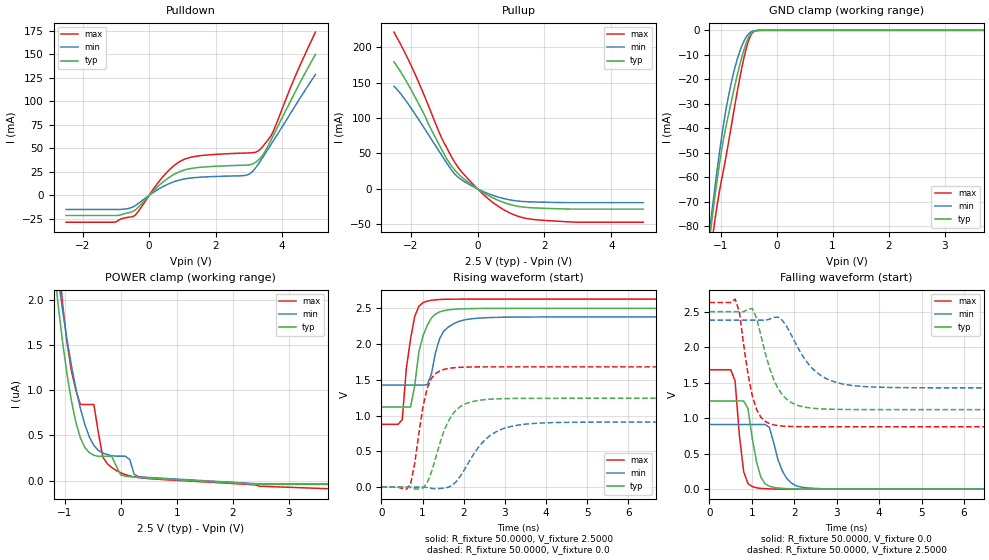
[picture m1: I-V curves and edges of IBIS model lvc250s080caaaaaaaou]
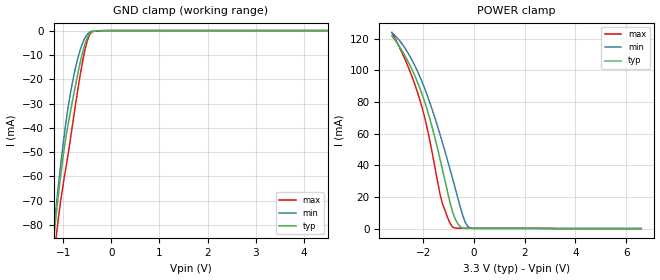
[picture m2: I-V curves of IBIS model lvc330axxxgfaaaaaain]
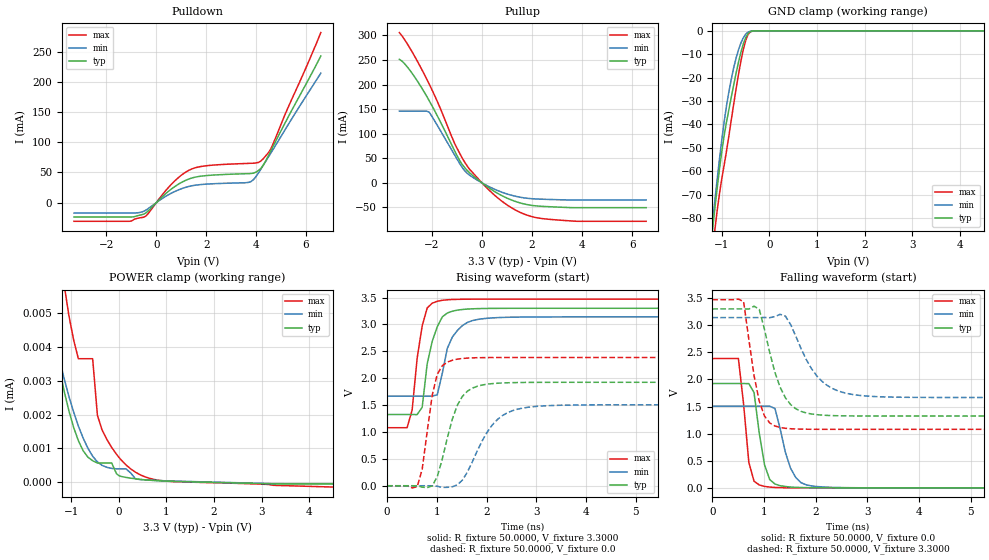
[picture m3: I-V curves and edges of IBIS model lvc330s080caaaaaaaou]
| IBIS Models Generator: Lattice Diamond (64-bit) 3.10.0.111.2
| Generate date: Sat Dec 03 21:10:33 2022
| IBIS File LibisMaker.ibs
| LibisGen v2.0.1.0, 02/25/2008, Lattice Semiconductor Corporation
| Modified by LibisMaker v2.0.1.0, 02/25/2008, Lattice Semiconductor
| North Carolina State University, ERL, 2006
[IBIS ver]   3.2
[File Name]   dianya_impl1.ibs
[File Rev]   3.4
[Date]   Wed Apr 27 17:34:17 PDT 2016
[Source]   Lattice Semiconductor cs200fl Process
   LCMXO2-4000HC   FINAL
   Lattice Semiconductor has worked hard to ensure the
   models below are accurate and complete.  However, the
   data below was generated using simulation of the
   input/output model files for the silicon.  Therefore,
   the data below is for reference and initial design
   purposes only.
   Lattice Semiconductor grants permission to use this
   data for use in printed circuit design using this
   Lattice programmable logic device.  Other use of this
   code, including the selling or duplication of any
   portion is strictly prohibited.
|   NAMING CONVENTION
   The IBIS [Model] header is limited by the specification to a
   total of characters.  With such a set of characters available
   for naming models it becomes important to attempt to
   meaningfully encode the IO standards so they fit within the
   twenty character limit.  It would seem that twenty characters
   would provide room enough for describing IO's.  However, the
   PLD IO structure continues to grow more and more complex.  The
   complexity is making the twenty characters insuffiently
   descriptive.  In order to overcome this issue the naming
   convention described below is implemented to resolve the issue.
The twenty character space is managed as follows:
   bbbvvvsdddprugtcoixx
   b = standard
   v = voltage (x.xx V)
   s = slew code
   d = drive (xx.x ma)
   p = pullup code
   r = series resistance  or bank_vccio code
   u = terminate to vcc code
   g = terminate to gnd code
   t = terminate to vtt code
   c = common mode termination mode
   o = diff resistor code
   i = diff resistor current code
   x = reserved
   standard
   lvcmos   lvc
   lvcmosd   lvd
   lvcmosr   lvr
   lvds25e   lve
   lvttl   lvt
   lvttld   ltd
   pci   pci
   sstl_I   ss1
   sstl_II   ss2
   sstld_I   s1d
   sstld_II   s2d
   hstl_i   hs1
   hstl_ii   hs2
   hstld_i   h1d
   hstld_ii   h2d
   lvds25   lvs
   blvds25   blv
   blvds25e   blv
   mlvds25   mlv
   mlvds25e   mlv
   lvpecl33   lvp
   lvpecl33e   lvp
   rsds25   rsd
   rsds25e   rse
   mipi   mip
   mipi_lp   mip
   vref1   vr1
   vref2   vr2
   ref_res   rer
   slew
   na   a
   fast   f
   slow   s
   pullmode
   off   a
   pullup   b
   pulldown   c
   bushold   d
   clamp   e
   up_clamp   f
   down_clamp   g
   keeper_clamp   h
   impedance or Bank_vccio
   off   a
   25   b
   33   c
   50   d
   100   e
   3.3   f
   2.5   g
   1.8   h
   1.5   i
   1.2   j
   termVCC
   off   a
   50   b
   100   c
   120   d
   termGND
   off   a
   50   b
   100   c
   120   d
   termVTT
   off   a
   60   b
   75   c
   120   d
   150   e
   210   f
   VCMT
   off   a
   VCMT   b
   VTT   c
   DDR-2   d
   differential resistor
   off   a
   100   b
   diff drive
   NA   a
   2.0   b
   3.5   c
   1.25   f
   2.5   g
   Reserved   IO type
   in   input only
   ou   output
   io   I/O
   od   Open drain
   on   Inverting differential I/O
   (signal name only)
   op   Non-Inverting differential I/O
   (signal name only)
   Lattice Semiconductor Corporation
   5555 NE Moore Court
   Hillsboro, OR 97214
   U.S.A
   TEL: 1-800-Lattice (USA and Canada)
   408-826-6000 (other locations)
   web: http://www.latticesemi.com/
   email: techsupport@latticesemi.com
[Disclaimer] This IBIS source code is intended as a design reference
   which illustrates how the Lattice Semiconductor device operates.
   It is the user's responsibility to verify their design for
   consistency and functionality through the use of formal
   verification methods.  Lattice Semiconductor provides no warranty
   regarding the use or functionality of this data.
[Copyright]   Copyright 2007 by Lattice Semiconductor Corporation
|   Component XO2
[Component]   XO2
[Manufacturer]   Lattice Semiconductor Corp.
[Package]
|CSBGA132
| variable   typ   min   max
R_pkg   285.450m   263.9m   295.0m
L_pkg   4.40nH   3.519nH   5.411nH
C_pkg   0.306pF   0.277pF   0.335pF
[Pin] signal_name   model_name   R_pin   L_pin   C_pin
J13   BL_LCD   lvc330s080caaaaaaaou
K13   CLK_LCD   lvc330s080caaaaaaaou
K14   DA_LCD   lvc330s080caaaaaaaou
J14   DC_LCD   lvc330s080caaaaaaaou
K12   RST_LCD   lvc330s080caaaaaaaou
N13   adcdisplay[0]   lvc330s080caaaaaaaou
M12   adcdisplay[1]   lvc330s080caaaaaaaou
P12   adcdisplay[2]   lvc330s080caaaaaaaou
M11   adcdisplay[3]   lvc330s080caaaaaaaou
P11   adcdisplay[4]   lvc330s080caaaaaaaou
N10   adcdisplay[5]   lvc330s080caaaaaaaou
N9   adcdisplay[6]   lvc330s080caaaaaaaou
P9   adcdisplay[7]   lvc330s080caaaaaaaou
C1   clk_in   lvc330axxxgfaaaaaain
G3   din   lvc250s080caaaaaaaou
N14   mode_btn_in   lvc330axxxgfaaaaaain
H3   rck   lvc250s080caaaaaaaou
L14   rst_n_in   lvc330axxxgfaaaaaain
J2   sck   lvc250s080caaaaaaaou
C8   scl_out   lvc330s080caaaaaaaou
| Models and submodels in the file (3): lvc250s080caaaaaaaou (Output), lvc330axxxgfaaaaaain (Input), lvc330s080caaaaaaaou (Output)
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[Model]   lvc250s080caaaaaaaou
Model_type   Output
Polarity   Non-Inverting
Enable   Active-Low
Vmeas =   1.2500V
Cref =   0.0F
Rref =   1.0000M
Vref =   0.0V
C_comp   4.2000pF   3.8000pF   7.5000pF
[Temperature Range]   25.0000   0.1050k   -40.0000
[Voltage Range]   2.5000V   2.3800V   2.6300V
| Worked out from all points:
|   slope of the pulldown table from 0 to 0.375 V, typ, clamps not added: 28.8 ohm
|   slope of the pullup table from 0 to 0.375 V, typ, clamps not added: 35 ohm
|   GND clamp passes 1 mA (typ) near -0.44 V on its own axis
|   rising waveform, R_fixture 50.0000, V_fixture 2.5000: 20-80 % time 286ps typ, 305ps min, 229ps max; typ from 1.12 V to 2.5 V
|   rising waveform, R_fixture 50.0000, V_fixture 0.0: 20-80 % time 465ps typ, 709ps min, 287ps max; typ from 0 V to 1.24 V
|   falling waveform, R_fixture 50.0000, V_fixture 0.0: 20-80 % time 232ps typ, 311ps min, 161ps max; typ from 1.24 V to 0 V
|   falling waveform, R_fixture 50.0000, V_fixture 2.5000: 20-80 % time 453ps typ, 672ps min, 302ps max; typ from 2.5 V to 1.12 V
[Pulldown]
|Voltage   I(typ)   I(min)   I(max)
-2.5V     -21.43mA   -15mA      -28.53mA
-1.06V    -21.43mA   -15mA      -28.53mA
-500mV    -17.29mA   -12.49mA   -22.68mA
-340mV    -13.01mA   -8.939mA   -17.7mA
460mV     15.44mA    10.15mA    21.72mA
1.1V      27.41mA    17.71mA    38.96mA
2.94V     32.22mA    21.64mA    45.09mA
3.26V     36.81mA    32.22mA    46.78mA
3.42V     43.03mA    40.73mA    52.13mA
3.74V     64.12mA    58.39mA    68.73mA
4.38V     109.2mA    94.54mA    125.7mA
5V        149.9mA    128.6mA    173.7mA
[Pullup]
|Voltage   I(typ)   I(min)   I(max)
-2.5V     179.5mA    144.9mA    221.4mA
-1.96V    137.7mA    112.2mA    171.5mA
-1.64V    109.2mA    89.19mA    137.2mA
-1.08V    56.2mA     47.99mA    72.47mA
-760mV    31.15mA    25.49mA    43.78mA
-440mV    15.37mA    11.59mA    22.04mA
40mV      -1.275mA   -931.8uA   -1.898mA
440mV     -12.3mA    -8.882mA   -18.58mA
1V        -22.45mA   -15.89mA   -34.81mA
1.56V     -26.61mA   -18.37mA   -42.65mA
2.92V     -28.69mA   -19.55mA   -47.08mA
4.96V     -28.69mA   -19.55mA   -47.14mA
[GND_clamp]
|Voltage   I(typ)   I(min)   I(max)
-2.5V     -564.7mA   -543.1mA   -585.2mA
-1.18V    -82.35mA   -79.03mA   -91.15mA
-1.14V    -74.88mA   -71.38mA   -83.96mA
-1.1V     -67.69mA   -63.94mA   -77.25mA
-980mV    -48.66mA   -43.36mA   -60.79mA
-820mV    -30.34mA   -22.65mA   -40.66mA
-700mV    -18.09mA   -11.63mA   -24.79mA
-620mV    -10.87mA   -6.335mA   -15.23mA
-540mV    -5.061mA   -2.654mA   -7.227mA
-460mV    -1.446mA   -714.8uA   -1.98mA
-300mV    -18.71uA   -15.93uA   -16.53uA
5V        0A         0A         0A
[POWER_clamp]
|Voltage   I(typ)   I(min)   I(max)
-2.48V    16.67uA    13.45uA    27.27uA
-1.2V     2.433uA    2.65uA     3.19uA
-1.12V    1.958uA    2.252uA    2.52uA
-1.04V    1.539uA    1.89uA     1.965uA
-880mV    879.3nA    1.27uA     1.211uA
-720mV    470.9nA    797.2nA    841.4nA
-480mV    279.3nA    388.4nA    841.4nA
-320mV    268.6nA    305nA      260.6nA
-160mV    268.6nA    275.3nA    144nA
0V        63.22nA    269.5nA    86.34nA
400mV     31.61nA    39.07nA    27.38nA
5V        -44.09nA   -38.33nA   -118.7nA
[Ramp]
| variable   typ   min   max
dV/dt_r  0.7610/0.4599n   0.5462/0.7020n   1.0094/0.2844n
dV/dt_f  0.8277/0.4481n   0.5716/0.6654n   1.0508/0.2990n
R_load = 50.0000
[Rising Waveform]
R_fixture=   50.0000
V_fixture=   2.5000
V_fixture_min=   2.3800
V_fixture_max=   2.6300
|time   V(typ)   V(min)   V(max)
0s        1.121V     1.427V     878.6mV
505.1ps   1.121V     1.427V     943.1mV
606.1ps   1.121V     1.427V     1.667V
707.1ps   1.119V     1.427V     2.071V
808.1ps   1.418V     1.427V     2.386V
909.1ps   1.892V     1.428V     2.53V
1.111ns   2.259V     1.432V     2.601V
1.515ns   2.468V     2.181V     2.626V
2.02ns    2.495V     2.339V     2.63V
10ns      2.5V       2.38V      2.63V
[Rising Waveform]
R_fixture=   50.0000
V_fixture=   0.0
V_fixture_min=   0.0
V_fixture_max=   0.0
|time   V(typ)   V(min)   V(max)
0s        666.9nV    899.8nV    549.6nV
707.1ps   -4.283mV   7.467uV    38.42mV
1.01ns    -9.285mV   -453.2uV   1.131V
1.111ns   62.83mV    -4.528mV   1.383V
1.515ns   778.6mV    -12.88mV   1.646V
1.717ns   1.012V     24.61mV    1.667V
2.02ns    1.16V      249.2mV    1.678V
2.525ns   1.224V     666.6mV    1.682V
3.232ns   1.24V      859.1mV    1.682V
10ns      1.243V     910.3mV    1.682V
[Falling Waveform]
R_fixture=   50.0000
V_fixture=   0.0
V_fixture_min=   0.0
V_fixture_max=   0.0
|time   V(typ)   V(min)   V(max)
0s        1.243V     910.3mV    1.682V
505.1ps   1.243V     910.3mV    1.682V
606.1ps   1.243V     910.3mV    1.524V
808.1ps   1.243V     910.4mV    247.8mV
909.1ps   1.137V     910.3mV    78.69mV
1.01ns    717.9mV    910.3mV    36.15mV
1.313ns   75.67mV    910.8mV    6.34mV
1.818ns   7.627mV    156mV      434.4uV
2.222ns   1.73mV     23.34mV    116uV
10ns      5.917uV    -6.372uV   -20.54uV
[Falling Waveform]
R_fixture=   50.0000
V_fixture=   2.5000
V_fixture_min=   2.3800
V_fixture_max=   2.6300
|time   V(typ)   V(min)   V(max)
0s        2.5V       2.38V      2.63V
606.1ps   2.5V       2.38V      2.678V
707.1ps   2.501V     2.38V      2.497V
1.01ns    2.546V     2.38V      1.319V
1.212ns   2.172V     2.381V     1.015V
1.515ns   1.545V     2.42V      905.6mV
2.02ns    1.194V     2.067V     881.4mV
2.525ns   1.135V     1.646V     879mV
3.131ns   1.123V     1.483V     878.7mV
10ns      1.121V     1.427V     878.6mV
[Model]   lvc330axxxgfaaaaaain
Model_type   Input
Polarity   Non-Inverting
Enable   Active-Low
Vinl =   0.8000V
Vinh =   2.0000V
C_comp   4.2000pF   3.8000pF   7.5000pF
[Temperature Range]   25.0000   0.1050k   -40.0000
[Voltage Range]   3.3000V   3.1400V   3.4700V
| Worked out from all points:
|   GND clamp passes 1 mA (typ) near -0.43 V on its own axis
|   POWER clamp passes 1 mA (typ) near -0.53 V on its own axis
[GND_clamp]
|Voltage   I(typ)   I(min)   I(max)
-3.3V     -955.3mA   -930.3mA   -978mA
-1.2V     -86.21mA   -82.95mA   -94.94mA
-1.15V    -76.76mA   -73.31mA   -85.77mA
-1.1V     -67.73mA   -63.97mA   -77.32mA
-1V       -51.54mA   -46.59mA   -63.26mA
-900mV    -38.9mA    -31.9mA    -51.31mA
-800mV    -28.29mA   -20.61mA   -38.02mA
-700mV    -18.14mA   -11.66mA   -24.86mA
-600mV    -9.315mA   -5.302mA   -13.12mA
-450mV    -1.255mA   -637uA     -1.701mA
0V        0A         0A         0A
6.6V      0A         0A         0A
[POWER_clamp]
|Voltage   I(typ)   I(min)   I(max)
-3.25V    121.9mA    123.9mA    124.1mA
-2.65V    106.9mA    112.1mA    104.1mA
-2.35V    96.95mA    103.3mA    91.59mA
-2.05V    84.73mA    92.58mA    76.25mA
-1.65V    63.65mA    75mA       47.49mA
-1.35V    44.31mA    59.69mA    21.99mA
-1.25V    37.38mA    54.28mA    15.6mA
-850mV    10.32mA    31.58mA    939uA
-650mV    3.193mA    19.74mA    210uA
-350mV    132.1uA    3.862mA    199.7uA
-150mV    104.6uA    375.8uA    197.7uA
6.6V      -56.35nA   -1.463uA   -71.55uA
[Model]   lvc330s080caaaaaaaou
Model_type   Output
Polarity   Non-Inverting
Enable   Active-Low
Vmeas =   1.500000V
Cref =   0.0F
Rref =   1.0000M
Vref =   0.0V
C_comp   4.2000pF   3.8000pF   7.5000pF
[Temperature Range]   25.0000   0.1050k   -40.0000
[Voltage Range]   3.3000V   3.1400V   3.4700V
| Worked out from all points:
|   slope of the pulldown table from 0 to 0.495 V, typ, clamps not added: 26 ohm
|   slope of the pullup table from 0 to 0.495 V, typ, clamps not added: 28.5 ohm
|   GND clamp passes 1 mA (typ) near -0.44 V on its own axis
|   rising waveform, R_fixture 50.0000, V_fixture 3.3000: 20-80 % time 251ps typ, 301ps min, 192ps max; typ from 1.32 V to 3.3 V
|   rising waveform, R_fixture 50.0000, V_fixture 0.0: 20-80 % time 363ps typ, 551ps min, 235ps max; typ from 0 V to 1.92 V
|   falling waveform, R_fixture 50.0000, V_fixture 0.0: 20-80 % time 188ps typ, 267ps min, 144ps max; typ from 1.92 V to 0 V
|   falling waveform, R_fixture 50.0000, V_fixture 3.3000: 20-80 % time 370ps typ, 535ps min, 253ps max; typ from 3.3 V to 1.32 V
[Pulldown]
|Voltage   I(typ)   I(min)   I(max)
-3.3V     -23.68mA   -17.2mA    -30.83mA
-1.1V     -23.68mA   -17.2mA    -30.83mA
-500mV    -18.89mA   -14.22mA   -24.07mA
-400mV    -16.44mA   -11.92mA   -21.58mA
600mV     22.43mA    15.62mA    30.22mA
1.3V      39.15mA    26.81mA    53.52mA
2V        44.82mA    30.69mA    61.1mA
3.7V      48.02mA    33.59mA    65.1mA
3.9V      48.94mA    38.13mA    65.35mA
4.2V      57.11mA    55.89mA    69.15mA
4.6V      86.19mA    82.47mA    89.45mA
6.6V      242.9mA    214.5mA    281.7mA
[Pullup]
|Voltage   I(typ)   I(min)   I(max)
-3.3V     251.3mA    145.8mA    305.6mA
-2.8V     223.5mA    145.8mA    267.3mA
-2.1V     166.4mA    143.5mA    200mA
-1.7V     127.9mA    109.7mA    155.7mA
-1.1V     65.82mA    57.34mA    80.93mA
-700mV    31.56mA    25.14mA    42.75mA
100mV     -3.836mA   -2.847mA   -5.414mA
800mV     -26.11mA   -19.07mA   -37.53mA
1.5V      -40.43mA   -28.94mA   -59.42mA
2.3V      -47.34mA   -33.02mA   -71.88mA
3.8V      -50.39mA   -34.76mA   -78.11mA
6.55V     -50.39mA   -34.76mA   -78.11mA
[GND_clamp]
|Voltage   I(typ)   I(min)   I(max)
-3.3V     -955.3mA   -930.3mA   -978mA
-1.2V     -86.18mA   -82.93mA   -94.91mA
-1.15V    -76.73mA   -73.29mA   -85.74mA
-1.1V     -67.71mA   -63.95mA   -77.28mA
-1V       -51.52mA   -46.57mA   -63.21mA
-900mV    -38.87mA   -31.88mA   -51.26mA
-800mV    -28.25mA   -20.58mA   -37.97mA
-700mV    -18.1mA    -11.63mA   -24.81mA
-600mV    -9.267mA   -5.265mA   -13.06mA
-450mV    -1.181mA   -586.6uA   -1.592mA
-250mV    -3.532uA   -4.055uA   -3.003uA
6.6V      0A         0A         0A
[POWER_clamp]
|Voltage   I(typ)   I(min)   I(max)
-3.25V    664.8uA    749.4uA    597.1uA
-1.55V    5.914uA    5.712uA    11.4uA
-1.45V    4.987uA    4.974uA    9.751uA
-1.15V    2.703uA    3.073uA    5.863uA
-850mV    1.226uA    1.662uA    3.655uA
-550mV    631.3nA    766.5nA    3.655uA
-450mV    563.6nA    595.5nA    1.977uA
-150mV    563.6nA    404.4nA    1.026uA
0V        190.5nA    391.2nA    734.7nA
450mV     79.23nA    72.94nA    213.9nA
950mV     30.32nA    38.42nA    33.55nA
6.6V      -57.56nA   -49.34nA   -232.5nA
[Ramp]
| variable   typ   min   max
dV/dt_r  1.1542/0.3590n   0.9035/0.5460n   1.4308/0.2329n
dV/dt_f  1.1855/0.3662n   0.8843/0.5297n   1.4345/0.2507n
R_load = 50.0000
[Rising Waveform]
R_fixture=   50.0000
V_fixture=   3.3000
V_fixture_min=   3.1400
V_fixture_max=   3.4700
|time   V(typ)   V(min)   V(max)
0s        1.324V     1.666V     1.079V
404ps     1.324V     1.666V     1.079V
505.1ps   1.324V     1.666V     1.407V
606.1ps   1.323V     1.666V     2.373V
707.1ps   1.46V      1.666V     2.973V
808.1ps   2.269V     1.667V     3.306V
1.01ns    2.956V     1.691V     3.43V
1.313ns   3.246V     2.765V     3.463V
1.818ns   3.293V     3.091V     3.469V
10ns      3.3V       3.14V      3.47V
[Rising Waveform]
R_fixture=   50.0000
V_fixture=   0.0
V_fixture_min=   0.0
V_fixture_max=   0.0
|time   V(typ)   V(min)   V(max)
0s        830nV      1.065uV    812.2nV
606.1ps   -647.3uV   2.343uV    -19.28mV
707.1ps   -25.56mV   18.24uV    307.2mV
909.1ps   -1.644mV   -352.6uV   1.685V
1.01ns    168.3mV    -10.05mV   2.075V
1.313ns   1.24V      -19.03mV   2.334V
1.717ns   1.816V     450.2mV    2.378V
2.121ns   1.9V       1.136V     2.384V
2.727ns   1.921V     1.444V     2.385V
10ns      1.924V     1.506V     2.385V
[Falling Waveform]
R_fixture=   50.0000
V_fixture=   0.0
V_fixture_min=   0.0
V_fixture_max=   0.0
|time   V(typ)   V(min)   V(max)
0s        1.924V     1.506V     2.385V
505.1ps   1.924V     1.506V     2.387V
707.1ps   1.923V     1.506V     469.1mV
808.1ps   1.757V     1.506V     123.1mV
1.01ns    427.9mV    1.507V     27.45mV
1.212ns   71.02mV    1.464V     7.412mV
1.414ns   24.43mV    655.3mV    2.129mV
1.616ns   9.884mV    189mV      652.9uV
1.919ns   2.628mV    35.9mV     184.5uV
10ns      -6.753uV   -8.585uV   -14.06uV
[Falling Waveform]
R_fixture=   50.0000
V_fixture=   3.3000
V_fixture_min=   3.1400
V_fixture_max=   3.4700
|time   V(typ)   V(min)   V(max)
0s        3.3V       3.14V      3.47V
606.1ps   3.3V       3.14V      3.436V
808.1ps   3.351V     3.14V      2.072V
909.1ps   3.292V     3.14V      1.597V
1.111ns   2.497V     3.138V     1.198V
1.313ns   1.855V     3.2V       1.113V
1.616ns   1.458V     2.796V     1.086V
2.02ns    1.35V      2.067V     1.08V
2.626ns   1.327V     1.737V     1.079V
10ns      1.324V     1.666V     1.079V
